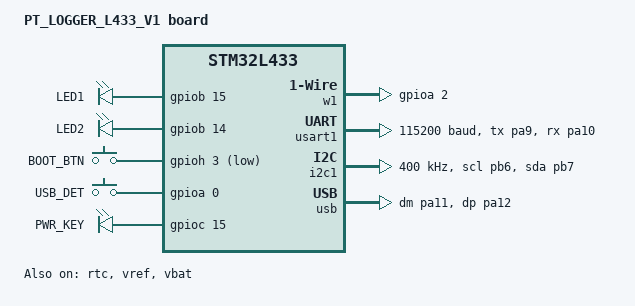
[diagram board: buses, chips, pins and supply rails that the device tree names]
/dts-v1/;
#include <st/l4/stm32l433Xc.dtsi>
#include <st/l4/stm32l433c(b-c)ux-pinctrl.dtsi>
#include <zephyr/dt-bindings/input/input-event-codes.h>

/ {
	model = "PT_LOGGER_L433_V1 board";
	compatible = "st,stm32l433";

	chosen {
		zephyr,console = &usart1;
		zephyr,shell-uart = &usart1;
		zephyr,sram = &sram0;
		zephyr,flash = &flash0;
	};

	leds: leds {
		compatible = "gpio-leds";

		green_led: led_0 {
			gpios = <&gpiob 15 GPIO_ACTIVE_HIGH>;
			label = "LED1";
		};
		red_led: led_1 {
			gpios = <&gpiob 14 GPIO_ACTIVE_HIGH>;
			label = "LED2";
		};
	};

	gpio_keys {
		compatible = "gpio-keys";

		user_button: button_0 {
			gpios = <&gpioh 3 (GPIO_ACTIVE_LOW | GPIO_PULL_UP)>;
			label = "BOOT_BTN";
		};

		usb_detect: button_1 {
			gpios = <&gpioa 0 (GPIO_ACTIVE_HIGH | GPIO_PULL_DOWN)>;
			label = "USB_DET";
		};
	};

	pwr_ctrl {
		compatible = "gpio-leds";
		pwr_key: pwr_key {
			gpios = <&gpioc 15 GPIO_ACTIVE_HIGH>;
			label = "PWR_KEY";
		};
	};

	w1: w1 {
		compatible = "zephyr,w1-gpio";
		gpios = <&gpioa 2 (GPIO_ACTIVE_HIGH | GPIO_OPEN_DRAIN )>;
		label = "W1_BUS";
		status = "okay";
	};

	aliases {
		led0 = &green_led;
		led1 = &red_led;
		sw0 = &user_button;
		volt-sensor0 = &vref;
		volt-sensor1 = &vbat;
	};
};

&clk_lsi {
	status = "okay";
};

&clk_hsi {
	status = "okay";
};

&clk_hsi48 {
	status = "okay";
};

&pll {
	div-m = <1>;
	mul-n = <20>;
	div-p = <7>;
	div-q = <2>;
	div-r = <4>;
	clocks = <&clk_hsi>;
	status = "okay";
};

&rcc {
	clocks = <&pll>;
	clock-frequency = <DT_FREQ_M(80)>;
	ahb-prescaler = <1>;
	apb1-prescaler = <1>;
	apb2-prescaler = <1>;
};

&usart1 {
	pinctrl-0 = <&usart1_tx_pa9 &usart1_rx_pa10>;
	pinctrl-names = "default";
	current-speed = <115200>;
	status = "okay";
};

&i2c1 {
	pinctrl-0 = <&i2c1_scl_pb6 &i2c1_sda_pb7>;
	pinctrl-names = "default";
	clock-frequency = <I2C_BITRATE_FAST>;
	status = "okay";
};

/* ==================== USB ==================== */
&usb {
	pinctrl-0 = <&usb_dm_pa11 &usb_dp_pa12>;
	pinctrl-names = "default";
	status = "okay";
	cdc_acm_uart0: cdc_acm_uart0 {
		compatible = "zephyr,cdc-acm-uart";
	};
};

&rtc {
	clocks = <&rcc STM32_CLOCK(APB1, 28)>,
		 <&rcc STM32_SRC_LSI RTC_SEL(2)>;
	status = "okay";
};

&flash0 {
	partitions {
		#address-cells = <1>;
		#size-cells = <1>;
		ranges;
		
		storage_partition: partition@3e000 {
			compatible = "zephyr,mapped-partition";
			label = "storage";
			reg = <0x0003e000 DT_SIZE_K(8)>;
		};
	};
};

&vref {
	status = "okay";
};

&vbat {
	status = "okay";
};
